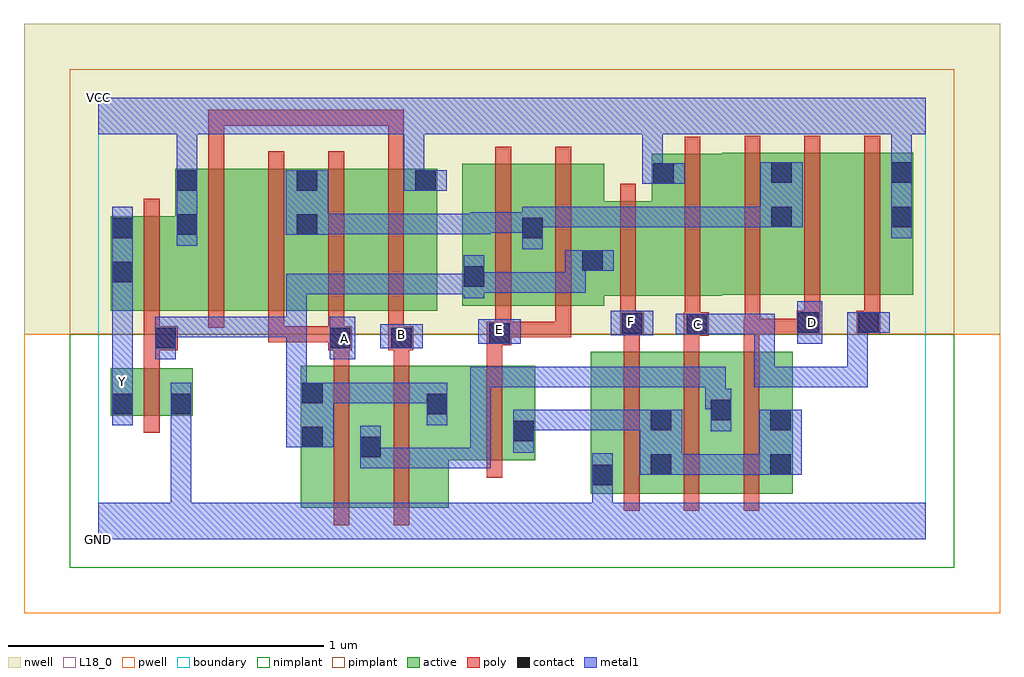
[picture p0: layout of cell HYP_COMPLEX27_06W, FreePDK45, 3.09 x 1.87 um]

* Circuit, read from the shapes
.subckt HYP_COMPLEX27_06W A B C D E F GND VCC Y
M1 GND n1 Y VSUBS nfet w=0.15u l=0.05u
M2 n2 A n1 VSUBS nfet w=0.45u l=0.05u
M3 n1 B n2 VSUBS nfet w=0.45u l=0.05u
M4 n3 E n1 VSUBS nfet w=0.3u l=0.05u
M5 n3 F GND VSUBS nfet w=0.45u l=0.05u
M6 n2 C n3 VSUBS nfet w=0.45u l=0.05u
M7 n3 D n2 VSUBS nfet w=0.45u l=0.05u
M8 VCC n1 Y n4 pfet w=0.3u l=0.05u
M9 n5 B VCC n4 pfet w=0.45u l=0.05u
M10 n6 A n5 n4 pfet w=0.45u l=0.05u
M11 n7 A n6 n4 pfet w=0.45u l=0.05u
M12 VCC B n7 n4 pfet w=0.45u l=0.05u
M13 n6 E n1 n4 pfet w=0.45u l=0.05u m=2
M14 VCC F n1 n4 pfet w=0.3u l=0.05u
M15 n8 C VCC n4 pfet w=0.45u l=0.05u
M16 n6 D n8 n4 pfet w=0.45u l=0.05u
M17 n9 D n6 n4 pfet w=0.45u l=0.05u
M18 VCC C n9 n4 pfet w=0.45u l=0.05u
.ends

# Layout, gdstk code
import gdstk
lib = gdstk.Library(unit=1e-6, precision=1e-09)
def R(c, l, rs):  # rectangles x0, y0, x1, y1
    for r in rs: c.add(gdstk.rectangle(r[:2], r[2:], *l))
def A(c, l, x, y, w, h, nx, ny, dx, dy):  # array of equal rectangles
    R(c, l, [(x+i*dx, y+j*dy, x+i*dx+w, y+j*dy+h) for i in range(nx) for j in range(ny)])
active = (1, 0)
pwell = (2, 0)
nwell = (3, 0)
nimplant = (4, 0)
pimplant = (5, 0)
poly = (9, 0)
contact = (10, 0)
metal1 = (11, 0)
L18_0 = (18, 0)
boundary = (235, 0)

hyp_complex27_06w = lib.new_cell('HYP_COMPLEX27_06W')
R(hyp_complex27_06w, active, [(0.642,0.1,0.902,0.55), (0.827,0.1,1.112,0.55), (0.642,0.145,0.717,0.55), (0.827,0.145,0.902,0.542), (1.562,0.145,1.637,0.595), (1.562,0.145,1.822,0.595), (1.747,0.145,2.012,0.595), (1.747,0.145,1.822,0.542), (1.937,0.145,2.012,0.595), (1.937,0.145,2.202,0.595), (2.127,0.145,2.202,0.595), (1.037,0.25,1.387,0.55), (1.312,0.25,1.387,0.55), (1.037,0.295,1.112,0.467), (0.04,0.392,0.115,0.542), (0.04,0.392,0.3,0.542), (0.225,0.392,0.3,0.542), (0.04,0.725,0.115,1.025), (0.04,0.725,0.32,1.025), (0.245,0.725,0.32,1.175), (0.245,0.725,0.47,1.175), (0.47,0.725,0.7,1.175), (0.625,0.725,0.85,1.175), (0.85,0.725,1.075,1.175), (0.625,0.732,0.7,1.175), (1.155,0.74,1.415,1.19), (1.155,0.74,1.23,1.047), (1.34,0.74,1.605,1.19), (1.53,0.772,1.83,1.072), (1.755,0.772,1.98,1.222), (1.98,0.775,2.205,1.225), (2.13,0.775,2.36,1.225), (2.36,0.775,2.585,1.225), (2.51,0.775,2.585,1.2), (1.53,0.847,1.605,1.07), (1,0.857,1.075,1.175), (1.34,0.857,1.415,1.155), (2.13,0.857,2.205,1.2), (1.755,0.995,1.83,1.222)])
R(hyp_complex27_06w, pwell, [(-0.235,-0.235,2.86,0.65)])
R(hyp_complex27_06w, nwell, [(-0.235,0.65,2.86,1.635)])
R(hyp_complex27_06w, nimplant, [(-0.09,-0.09,2.715,0.65)])
R(hyp_complex27_06w, pimplant, [(-0.09,0.65,2.715,1.49)])
A(hyp_complex27_06w, poly, 1.667, 0.09, 0.05, 0.56, 3, 1, 0.19, 0)
A(hyp_complex27_06w, poly, 0.54, 0.625, 0.05, 0.095, 3, 1, 0.19, 0)
A(hyp_complex27_06w, poly, 0.35, 0.67, 0.05, 0.56, 4, 1, 0.19, 0)
A(hyp_complex27_06w, poly, 2.05, 0.72, 0.05, 0.56, 3, 1, 0.19, 0)
R(hyp_complex27_06w, poly, [(0.747,0.045,0.797,0.605), (0.937,0.045,0.987,0.605), (1.232,0.195,1.282,0.605), (0.145,0.337,0.195,0.597), (0.145,0.547,0.195,0.65), (0.747,0.555,0.797,0.65), (0.937,0.555,0.987,0.65), (1.232,0.555,1.282,0.665), (0.145,0.6,0.252,0.675), (0.73,0.6,0.805,0.675), (0.92,0.6,1,0.675), (1.667,0.6,1.717,0.697), (1.857,0.6,1.907,0.695), (2.047,0.6,2.097,0.7), (1.232,0.615,1.31,0.69), (0.145,0.625,0.195,0.72), (0.54,0.625,0.59,0.675), (0.54,0.625,0.59,0.675), (0.54,0.625,0.59,0.675), (0.54,0.625,0.78,0.675), (1.26,0.64,1.31,0.735), (1.26,0.64,1.31,0.69), (1.26,0.64,1.31,0.69), (1.26,0.64,1.5,0.69), (1.45,0.64,1.5,0.735), (1.45,0.64,1.5,0.69), (1.857,0.645,1.937,0.72), (1.655,0.647,1.73,0.722), (2.047,0.65,2.1,0.7), (2.05,0.65,2.265,0.7), (2.05,0.65,2.1,0.7), (2.05,0.65,2.1,0.7), (2.05,0.65,2.1,0.77), (2.215,0.65,2.29,0.725), (2.405,0.65,2.48,0.725), (0.145,0.67,0.195,1.08), (1.86,0.67,1.91,0.767), (1.655,0.672,1.705,0.767), (2.24,0.675,2.29,0.77), (2.43,0.675,2.48,0.77), (1.26,0.685,1.31,1.245), (1.45,0.685,1.5,1.245), (1.655,0.717,1.705,1.127), (1.86,0.717,1.91,1.277), (0.35,1.18,0.4,1.362), (0.92,1.18,0.97,1.362), (0.35,1.312,0.4,1.362), (0.35,1.312,0.4,1.362), (0.35,1.312,0.4,1.362), (0.35,1.312,0.59,1.362), (0.54,1.312,0.59,1.362), (0.54,1.312,0.59,1.362), (0.54,1.312,0.59,1.362), (0.54,1.312,0.722,1.362), (0.672,1.312,0.722,1.362), (0.672,1.312,0.722,1.362), (0.672,1.312,0.722,1.362), (0.672,1.312,0.97,1.362), (0.92,1.312,0.97,1.362)])
R(hyp_complex27_06w, contact, [(1.567,0.172,1.632,0.237), (1.752,0.205,1.817,0.27), (2.132,0.205,2.197,0.27), (0.832,0.26,0.897,0.325), (0.647,0.292,0.712,0.357), (1.317,0.31,1.382,0.375), (1.752,0.345,1.817,0.41), (2.132,0.345,2.197,0.41), (1.942,0.377,2.007,0.442), (0.045,0.397,0.11,0.462), (0.23,0.397,0.295,0.462), (1.042,0.397,1.107,0.462), (0.647,0.432,0.712,0.497), (0.182,0.605,0.247,0.67), (0.735,0.605,0.8,0.67), (0.93,0.605,0.995,0.67), (1.24,0.62,1.305,0.685), (1.867,0.65,1.932,0.715), (1.66,0.652,1.725,0.717), (2.22,0.655,2.285,0.72), (2.41,0.655,2.475,0.72), (1.16,0.8,1.225,0.865), (0.045,0.815,0.11,0.88), (1.535,0.852,1.6,0.917), (0.045,0.955,0.11,1.02), (1.345,0.955,1.41,1.02), (0.25,0.965,0.315,1.03), (0.63,0.965,0.695,1.03), (2.135,0.99,2.2,1.055), (2.515,0.99,2.58,1.055), (0.25,1.105,0.315,1.17), (0.63,1.105,0.695,1.17), (1.005,1.105,1.07,1.17), (1.76,1.127,1.825,1.192), (2.135,1.13,2.2,1.195), (2.515,1.13,2.58,1.195)])
R(hyp_complex27_06w, metal1, [(0,0,2.625,0.115), (0.23,0.05,0.295,0.427), (1.567,0.05,1.632,0.115), (1.567,0.05,1.632,0.115), (1.567,0.05,1.632,0.202), (1.567,0.137,1.632,0.272), (1.717,0.205,1.852,0.41), (1.787,0.205,1.852,0.27), (1.787,0.205,1.852,0.27), (1.787,0.205,2.007,0.27), (1.942,0.205,2.007,0.27), (1.942,0.205,2.127,0.27), (2.062,0.205,2.127,0.27), (2.062,0.205,2.162,0.27), (2.097,0.205,2.232,0.41), (0.832,0.225,0.897,0.36), (0.832,0.225,1.087,0.29), (1.022,0.225,1.087,0.29), (1.022,0.225,1.087,0.29), (1.022,0.225,1.087,0.29), (1.022,0.225,1.245,0.29), (1.18,0.225,1.245,0.29), (1.18,0.225,1.245,0.547), (1.317,0.275,1.382,0.41), (0.597,0.292,0.747,0.497), (1.942,0.342,2.007,0.477), (1.317,0.345,1.552,0.41), (1.487,0.345,1.552,0.41), (1.487,0.345,1.552,0.41), (1.487,0.345,1.552,0.41), (1.487,0.345,1.69,0.41), (1.625,0.345,1.69,0.41), (1.625,0.345,1.782,0.41), (0.045,0.362,0.11,0.497), (0.23,0.362,0.295,0.427), (0.23,0.362,0.295,0.427), (0.23,0.362,0.295,0.427), (0.23,0.362,0.295,0.427), (0.23,0.362,0.295,0.427), (0.23,0.362,0.295,0.427), (0.23,0.362,0.295,0.497), (1.042,0.362,1.107,0.497), (1.925,0.412,2.007,0.477), (1.925,0.412,1.99,0.547), (0.045,0.432,0.11,0.497), (0.045,0.432,0.11,0.567), (0.597,0.432,0.662,0.705), (0.682,0.432,0.747,0.497), (0.682,0.432,0.747,0.497), (0.682,0.432,0.885,0.497), (0.82,0.432,0.885,0.497), (0.82,0.432,0.885,0.497), (0.82,0.432,0.885,0.497), (0.82,0.432,1.107,0.497), (1.18,0.482,1.245,0.547), (1.18,0.482,1.245,0.547), (1.18,0.482,1.245,0.547), (1.18,0.482,1.415,0.547), (1.35,0.482,1.415,0.547), (1.35,0.482,1.415,0.547), (1.35,0.482,1.415,0.547), (1.35,0.482,1.645,0.547), (1.58,0.482,1.645,0.547), (1.58,0.482,1.69,0.547), (1.625,0.482,1.69,0.547), (1.625,0.482,1.87,0.547), (1.805,0.482,1.87,0.547), (1.805,0.482,1.99,0.547), (2.08,0.482,2.145,0.547), (2.08,0.482,2.282,0.547), (2.08,0.482,2.145,0.715), (2.217,0.482,2.282,0.547), (2.217,0.482,2.44,0.547), (2.375,0.482,2.44,0.547), (2.375,0.482,2.44,0.72), (0.045,0.502,0.11,0.845), (0.182,0.57,0.247,0.705), (0.735,0.57,0.815,0.705), (0.895,0.605,1.03,0.682), (1.205,0.62,1.34,0.697), (2.217,0.62,2.297,0.755), (0.182,0.64,0.247,0.705), (0.182,0.64,0.247,0.705), (0.182,0.64,0.385,0.705), (0.32,0.64,0.385,0.705), (0.32,0.64,0.522,0.705), (0.457,0.64,0.522,0.705), (0.457,0.64,0.522,0.705), (0.457,0.64,0.522,0.705), (0.457,0.64,0.662,0.705), (0.597,0.64,0.662,0.705), (0.597,0.64,0.662,0.842), (1.625,0.647,1.76,0.725), (1.832,0.65,1.967,0.715), (1.902,0.65,2.007,0.715), (1.942,0.65,2.007,0.715), (1.942,0.65,2.145,0.715), (2.08,0.65,2.145,0.715), (2.08,0.65,2.145,0.715), (2.08,0.65,2.145,0.715), (2.375,0.655,2.44,0.72), (2.375,0.655,2.44,0.72), (2.375,0.655,2.51,0.72), (1.16,0.765,1.225,0.9), (0.597,0.777,0.662,0.842), (0.597,0.777,0.662,0.842), (0.597,0.777,0.662,0.842), (0.597,0.777,0.885,0.842), (0.82,0.777,0.885,0.842), (0.82,0.777,1.087,0.842), (1.022,0.777,1.087,0.842), (1.022,0.777,1.087,0.842), (1.022,0.777,1.087,0.842), (1.022,0.777,1.225,0.842), (0.045,0.78,0.11,1.055), (1.16,0.782,1.245,0.847), (1.18,0.782,1.245,0.847), (1.18,0.782,1.415,0.847), (1.35,0.782,1.415,0.847), (1.35,0.782,1.547,0.847), (1.482,0.782,1.547,0.917), (1.482,0.852,1.565,0.917), (1.5,0.852,1.635,0.917), (1.345,0.92,1.41,1.055), (0.25,0.93,0.315,1.205), (2.515,0.955,2.58,1.23), (0.595,0.965,0.73,1.17), (0.665,0.967,0.73,1.032), (0.665,0.967,0.73,1.032), (0.665,0.967,0.885,1.032), (0.82,0.967,0.885,1.032), (0.82,0.967,1.087,1.032), (1.022,0.967,1.087,1.032), (1.022,0.967,1.087,1.032), (1.022,0.967,1.087,1.032), (1.022,0.967,1.245,1.032), (1.18,0.967,1.245,1.037), (1.18,0.972,1.245,1.037), (1.18,0.972,1.245,1.037), (1.18,0.972,1.41,1.037), (1.345,0.99,1.41,1.055), (1.345,0.99,1.41,1.055), (1.345,0.99,1.645,1.055), (1.58,0.99,1.645,1.055), (1.58,0.99,1.69,1.055), (1.625,0.99,1.69,1.055), (1.625,0.99,1.87,1.055), (1.805,0.99,1.87,1.055), (1.805,0.99,1.87,1.055), (1.805,0.99,1.87,1.055), (1.805,0.99,1.87,1.055), (1.805,0.99,1.87,1.055), (1.805,0.99,2.007,1.055), (1.942,0.99,2.007,1.055), (1.942,0.99,2.127,1.055), (2.062,0.99,2.127,1.055), (2.062,0.99,2.165,1.055), (2.1,0.99,2.235,1.195), (0.97,1.105,1.105,1.17), (0.97,1.105,1.035,1.35), (1.725,1.127,1.86,1.192), (1.725,1.127,1.79,1.35), (0.25,1.14,0.315,1.205), (0.25,1.14,0.315,1.205), (0.25,1.14,0.315,1.35), (2.515,1.165,2.58,1.35), (0,1.285,2.625,1.4), (0.97,1.285,1.035,1.35), (0.97,1.285,1.035,1.35), (1.725,1.285,1.79,1.35), (1.725,1.285,1.79,1.35), (2.515,1.285,2.58,1.35), (2.515,1.285,2.58,1.35)])
R(hyp_complex27_06w, L18_0, [(0,0,2.625,0.115), (0.23,0.05,0.295,0.427), (1.567,0.05,1.632,0.115), (1.567,0.05,1.632,0.115), (1.567,0.05,1.632,0.202), (1.567,0.137,1.632,0.272), (0.045,0.362,0.11,0.497), (0.23,0.362,0.295,0.497), (0.23,0.362,0.295,0.427), (0.23,0.362,0.295,0.427), (0.23,0.362,0.295,0.427), (0.23,0.362,0.295,0.427), (0.23,0.362,0.295,0.427), (0.23,0.362,0.295,0.427), (0.045,0.432,0.11,0.567), (0.045,0.432,0.11,0.497), (0.045,0.467,0.11,0.532), (2.08,0.482,2.145,0.547), (2.08,0.482,2.145,0.715), (2.08,0.482,2.282,0.547), (2.217,0.482,2.282,0.547), (2.217,0.482,2.44,0.547), (2.375,0.482,2.44,0.547), (2.375,0.482,2.44,0.72), (0.045,0.502,0.11,0.845), (0.735,0.57,0.815,0.705), (0.75,0.605,0.815,0.67), (0.895,0.605,1.03,0.682), (0.93,0.617,0.995,0.682), (1.205,0.62,1.34,0.697), (2.217,0.62,2.297,0.755), (1.24,0.632,1.305,0.697), (1.625,0.647,1.76,0.725), (1.832,0.65,1.967,0.715), (1.867,0.65,1.932,0.715), (1.902,0.65,2.007,0.715), (1.942,0.65,2.007,0.715), (1.942,0.65,2.145,0.715), (2.08,0.65,2.145,0.715), (2.08,0.65,2.145,0.715), (2.08,0.65,2.145,0.715), (2.232,0.655,2.297,0.72), (2.375,0.655,2.44,0.72), (2.375,0.655,2.44,0.72), (2.375,0.655,2.51,0.72), (1.66,0.66,1.725,0.725), (0.045,0.78,0.11,1.055), (0.25,0.93,0.315,1.205), (2.515,0.955,2.58,1.23), (0.97,1.105,1.105,1.17), (0.97,1.105,1.035,1.35), (1.725,1.127,1.86,1.192), (1.725,1.127,1.79,1.35), (0.25,1.14,0.315,1.205), (0.25,1.14,0.315,1.205), (0.25,1.14,0.315,1.35), (2.515,1.165,2.58,1.35), (0,1.285,2.625,1.4), (0.97,1.285,1.035,1.35), (0.97,1.285,1.035,1.35), (1.725,1.285,1.79,1.35), (1.725,1.285,1.79,1.35), (2.515,1.285,2.58,1.35), (2.515,1.285,2.58,1.35)])
R(hyp_complex27_06w, boundary, [(0,0,2.625,1.4)])
hyp_complex27_06w.add(gdstk.Label('A', (0.782,0.637), layer=11, texttype=0))
hyp_complex27_06w.add(gdstk.Label('B', (0.962,0.65), layer=11, texttype=0))
hyp_complex27_06w.add(gdstk.Label('C', (1.9,0.682), layer=11, texttype=0))
hyp_complex27_06w.add(gdstk.Label('D', (2.265,0.687), layer=11, texttype=0))
hyp_complex27_06w.add(gdstk.Label('E', (1.272,0.665), layer=11, texttype=0))
hyp_complex27_06w.add(gdstk.Label('F', (1.692,0.692), layer=11, texttype=0))
hyp_complex27_06w.add(gdstk.Label('Y', (0.077,0.5), layer=11, texttype=0))
hyp_complex27_06w.add(gdstk.Label('VCC', (0,1.4), layer=11, texttype=0))
hyp_complex27_06w.add(gdstk.Label('GND', (0,0), layer=11, texttype=0))

lib.write_gds('HYP_COMPLEX27_06W.gds')
